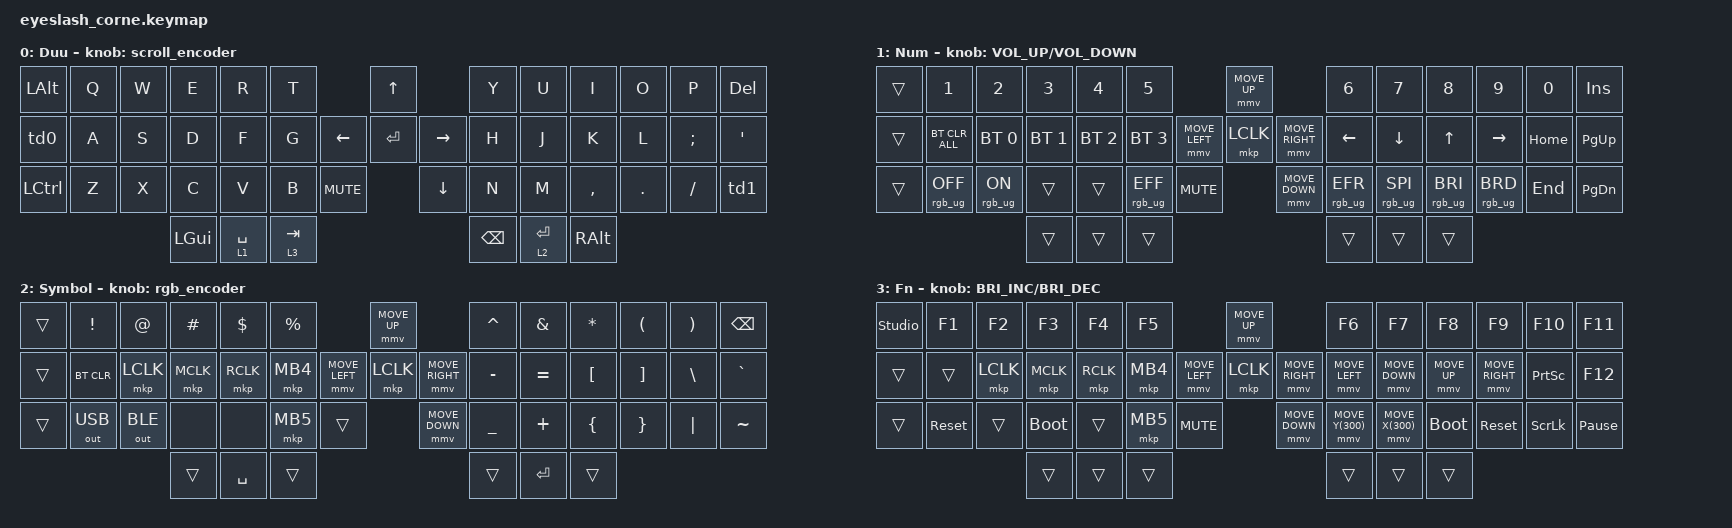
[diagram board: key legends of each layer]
#define ZMK_POINTING_DEFAULT_MOVE_VAL 1200  // 600
#define ZMK_POINTING_DEFAULT_SCRL_VAL 25   // 10

#include <input/processors.dtsi>
#include <zephyr/dt-bindings/input/input-event-codes.h>
#include <behaviors.dtsi>
#include <dt-bindings/zmk/bt.h>
#include <dt-bindings/zmk/keys.h>
#include <dt-bindings/zmk/outputs.h>
#include <dt-bindings/zmk/pointing.h>
#include <dt-bindings/zmk/rgb.h>

&mmv_input_listener { input-processors = <&zip_xy_scaler 2 1>; };

&msc_input_listener { input-processors = <&zip_scroll_scaler 2 1>; };

&msc {
    acceleration-exponent = <1>;      // 0
    time-to-max-speed-ms = <100>;       // 300
    delay-ms = <0>;                   // 0
};

&mmv {
    time-to-max-speed-ms = <500>;
    acceleration-exponent = <1>;
    trigger-period-ms = <16>;
};

&soft_off { hold-time-ms = <2000>; };

/ {
    behaviors {
        td0: td0 {
            compatible = "zmk,behavior-tap-dance";
            display-name = "Shift/Caps Lock Tap Dance";
            #binding-cells = <0>;
            bindings = <&kp LEFT_SHIFT>, <&kp CAPS>;
        };

        td1: td1 {
            compatible = "zmk,behavior-tap-dance";
            display-name = "Shift/Caps Lock Tap Dance";
            #binding-cells = <0>;
            bindings = <&kp RIGHT_SHIFT>, <&kp CAPS>;

            label = "TD1";
        };
    };

    rgb_encoder: rgb_encoder {
        compatible = "zmk,behavior-sensor-rotate";
        #sensor-binding-cells = <0>;
        bindings = <&rgb_ug RGB_BRI>, <&rgb_ug RGB_BRD>;
    };

    scroll_encoder: scroll_encoder {
        compatible = "zmk,behavior-sensor-rotate";
        #sensor-binding-cells = <0>;
        bindings = <&msc SCRL_DOWN>, <&msc SCRL_UP>;

        tap-ms = <100>;
    };

    combos {
        compatible = "zmk,combos";

        combo_esc {
            bindings = <&kp ESCAPE>;
            key-positions = <23 24>;
        };

        softoff {
            bindings = <&soft_off>;
            key-positions = <34 20>;
        };
    };

    keymap {
        compatible = "zmk,keymap";

        default_layer {
            display-name = "Duu";
            bindings = <
&kp LEFT_ALT  &kp Q  &kp W  &kp E     &kp R        &kp T                              &kp UP                &kp Y          &kp U        &kp I      &kp O    &kp P     &kp DEL
&td0          &kp A  &kp S  &kp D     &kp F        &kp G                    &kp LEFT  &kp ENTER  &kp RIGHT  &kp H          &kp J        &kp K      &kp L    &kp SEMI  &kp SQT
&kp LCTRL     &kp Z  &kp X  &kp C     &kp V        &kp B      &kp K_MUTE              &kp DOWN              &kp N          &kp M        &kp COMMA  &kp DOT  &kp FSLH  &td1
                            &kp LGUI  &lt 1 SPACE  &lt 3 TAB                                                &kp BACKSPACE  &lt 2 ENTER  &kp RALT
            >;

            sensor-bindings = <&scroll_encoder>;
        };

        lower_layer {
            display-name = "Num";
            bindings = <
&trans  &kp N1           &kp N2          &kp N3        &kp N4        &kp N5                                         &mmv MOVE_UP                     &kp N6           &kp N7           &kp N8           &kp N9           &kp N0    &kp INS
&trans  &bt BT_CLR_ALL   &bt BT_SEL 0    &bt BT_SEL 1  &bt BT_SEL 2  &bt BT_SEL 3                   &mmv MOVE_LEFT  &mkp LCLK       &mmv MOVE_RIGHT  &kp LEFT         &kp DOWN         &kp UP           &kp RIGHT        &kp HOME  &kp PG_UP
&trans  &rgb_ug RGB_OFF  &rgb_ug RGB_ON  &trans        &trans        &rgb_ug RGB_EFF  &kp C_MUTE                    &mmv MOVE_DOWN                   &rgb_ug RGB_EFR  &rgb_ug RGB_SPI  &rgb_ug RGB_BRI  &rgb_ug RGB_BRD  &kp END   &kp PG_DN
                                         &trans        &trans        &trans                                                                          &trans           &trans           &trans
            >;

            sensor-bindings = <&inc_dec_kp C_VOLUME_UP C_VOLUME_DOWN>;
        };

        raise_layer {
            display-name = "Symbol";
            bindings = <
&trans  &kp EXCL      &kp AT        &kp HASH   &kp DLLR   &kp PRCNT                            &mmv MOVE_UP                     &kp CARET  &kp AMPS   &kp ASTRK  &kp LPAR  &kp RPAR  &kp BSPC
&trans  &bt BT_CLR    &mkp LCLK     &mkp MCLK  &mkp RCLK  &mkp MB4             &mmv MOVE_LEFT  &mkp LCLK       &mmv MOVE_RIGHT  &kp MINUS  &kp EQUAL  &kp LBKT   &kp RBKT  &kp BSLH  &kp GRAVE
&trans  &out OUT_USB  &out OUT_BLE  &none      &none      &mkp MB5   &trans                    &mmv MOVE_DOWN                   &kp UNDER  &kp PLUS   &kp LBRC   &kp RBRC  &kp PIPE  &kp TILDE
                                    &trans     &kp SPACE  &trans                                                                &trans     &kp ENTER  &trans
            >;

            sensor-bindings = <&rgb_encoder>;
        };

        layer_3 {
            display-name = "Fn";
            bindings = <
&studio_unlock  &kp F1      &kp F2     &kp F3       &kp F4     &kp F5                                  &mmv MOVE_UP                     &kp F6            &kp F7            &kp F8        &kp F9           &kp F10          &kp F11
&trans          &trans      &mkp LCLK  &mkp MCLK    &mkp RCLK  &mkp MB4                &mmv MOVE_LEFT  &mkp LCLK       &mmv MOVE_RIGHT  &mmv MOVE_LEFT    &mmv MOVE_DOWN    &mmv MOVE_UP  &mmv MOVE_RIGHT  &kp PRINTSCREEN  &kp F12
&trans          &sys_reset  &trans     &bootloader  &trans     &mkp MB5  &kp C_MUTE                    &mmv MOVE_DOWN                   &mmv MOVE_Y(300)  &mmv MOVE_X(300)  &bootloader   &sys_reset       &kp SCROLLLOCK   &kp PAUSE_BREAK
                                       &trans       &trans     &trans                                                                   &trans            &trans            &trans
            >;

            sensor-bindings = <&inc_dec_kp C_BRIGHTNESS_INC C_BRIGHTNESS_DEC>;
        };
    };
};
